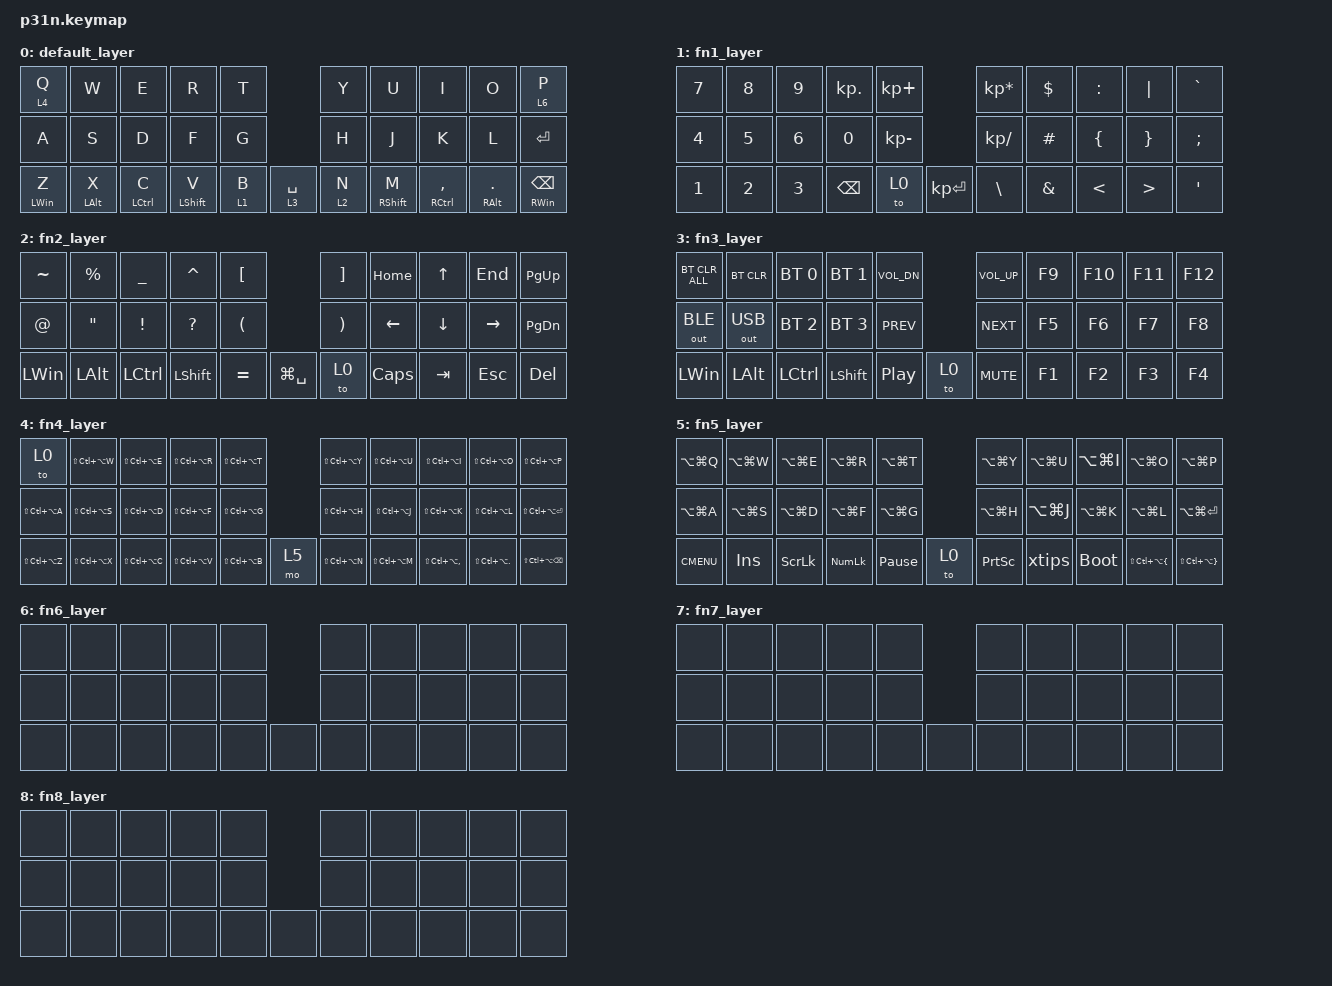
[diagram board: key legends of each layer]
/*
 * Copyright (c) 2020 The ZMK Contributors
 *
 * SPDX-License-Identifier: MIT
 */

#include <behaviors.dtsi>
#include <dt-bindings/zmk/keys.h>
#include <dt-bindings/zmk/rgb.h>
#include <dt-bindings/zmk/bt.h>
#include <dt-bindings/zmk/outputs.h>
#include <dt-bindings/zmk/ext_power.h>
#include <dt-bindings/zmk/mouse.h>

/ {
    macros {
        xtips: xtips {
            compatible = "zmk,behavior-macro";
            label = "XTIPS";
            #binding-cells = <0>;
            bindings = <&kp LS(X) &kp KP_DOT &kp LS(T) &kp I &kp P &kp S>;
            wait-ms = <1>;
            tap-ms = <1>;
        };
    };

    keymap0: keymap {
        compatible = "zmk,keymap";

        default_layer {
            bindings = <
            &lt 4 Q                &kp W                  &kp E                  &kp R                  &kp T                     &kp Y                  &kp U                  &kp I                  &kp O                  &lt 6 P
            &kp A                  &kp S                  &kp D                  &kp F                  &kp G                     &kp H                  &kp J                  &kp K                  &kp L                  &kp ENTER
            &mt LWIN Z             &mt LALT X             &mt LCTRL C            &mt LSHFT V            &lt 1 B                   &lt 3 SPACE               &lt 2 N                &mt RSHFT M            &mt RCTRL COMMA        &mt RALT DOT           &mt RWIN BSPC
            >;
        };

        fn1_layer {
            bindings = <
            &kp N7                 &kp N8                 &kp N9                 &kp KP_DOT             &kp KP_PLUS               &kp KP_MULTIPLY        &kp DLLR               &kp COLON              &kp PIPE               &kp GRAVE
            &kp N4                 &kp N5                 &kp N6                 &kp N0                 &kp KP_MINUS              &kp KP_SLASH           &kp HASH               &kp LBRC               &kp RBRC               &kp SEMI
            &kp N1                 &kp N2                 &kp N3                 &kp BSPC               &to 0                     &kp KP_ENTER           &kp BSLH               &kp AMPS               &kp LT                 &kp GT                 &kp SQT
            >;
        };

        fn2_layer {
            bindings = <
            &kp TILDE              &kp PRCNT              &kp UNDER              &kp CARET              &kp LBKT                  &kp RBKT               &kp HOME               &kp UP                 &kp END                &kp PG_UP
            &kp AT                 &kp DQT                &kp EXCL               &kp QMARK              &kp LPAR                  &kp RPAR               &kp LEFT               &kp DOWN               &kp RIGHT              &kp PG_DN
            &kp LWIN               &kp LALT               &kp LCTRL              &kp LSHFT              &kp EQUAL                 &kp LG(SPACE)          &to 0                  &kp CAPS               &kp TAB                &kp ESC                &kp DEL
            >;
        };

        fn3_layer {
            bindings = <
            &bt BT_CLR_ALL         &bt BT_CLR             &bt BT_SEL 0           &bt BT_SEL 1           &kp C_VOL_DN              &kp C_VOL_UP           &kp F9                 &kp F10                &kp F11                &kp F12
            &out OUT_BLE           &out OUT_USB           &bt BT_SEL 2           &bt BT_SEL 3           &kp C_PREV                &kp C_NEXT             &kp F5                 &kp F6                 &kp F7                 &kp F8
            &kp LWIN               &kp LALT               &kp LCTRL              &kp LSHFT              &kp C_PP                  &to 0                  &kp C_MUTE             &kp F1                 &kp F2                 &kp F3                 &kp F4
            >;
        };

        fn4_layer {
            bindings = <
            &to 0                  &kp LS(LC(LA(W)))      &kp LS(LC(LA(E)))      &kp LS(LC(LA(R)))      &kp LS(LC(LA(T)))         &kp LS(LC(LA(Y)))      &kp LS(LC(LA(U)))      &kp LS(LC(LA(I)))      &kp LS(LC(LA(O)))      &kp LS(LC(LA(P)))
            &kp LS(LC(LA(A)))      &kp LS(LC(LA(S)))      &kp LS(LC(LA(D)))      &kp LS(LC(LA(F)))      &kp LS(LC(LA(G)))         &kp LS(LC(LA(H)))      &kp LS(LC(LA(J)))      &kp LS(LC(LA(K)))      &kp LS(LC(LA(L)))      &kp LS(LC(LA(ENTER)))
            &kp LS(LC(LA(Z)))      &kp LS(LC(LA(X)))      &kp LS(LC(LA(C)))      &kp LS(LC(LA(V)))      &kp LS(LC(LA(B)))         &mo 5                  &kp LS(LC(LA(N)))      &kp LS(LC(LA(M)))      &kp LS(LC(LA(COMMA)))  &kp LS(LC(LA(DOT)))    &kp LS(LC(LA(BSPC)))
            >;
        };

        fn5_layer {
            bindings = <
            &kp LA(LG(Q))          &kp LA(LG(W))          &kp LA(LG(E))          &kp LA(LG(R))          &kp LA(LG(T))             &kp LA(LG(Y))          &kp LA(LG(U))          &kp LA(LG(I))          &kp LA(LG(O))          &kp LA(LG(P))
            &kp LA(LG(A))          &kp LA(LG(S))          &kp LA(LG(D))          &kp LA(LG(F))          &kp LA(LG(G))             &kp LA(LG(H))          &kp LA(LG(J))          &kp LA(LG(K))          &kp LA(LG(L))          &kp LA(LG(ENTER))
            &kp K_CMENU            &kp INS                &kp SLCK               &kp KP_NLCK            &kp PAUSE_BREAK           &to 0                  &kp PSCRN              &xtips                 &bootloader            &kp LS(LC(LA(LBRC)))   &kp LS(LC(LA(RBRC)))
            >;
        };

        fn6_layer {
            bindings = <
            &none                  &none                  &none                  &none                  &none                     &none                  &none                  &none                  &none                  &none
            &none                  &none                  &none                  &none                  &none                     &none                  &none                  &none                  &none                  &none
            &none                  &none                  &none                  &none                  &none                     &none                  &none                  &none                  &none                  &none                  &none
            >;
        };

        fn7_layer {
            bindings = <
            &none                  &none                  &none                  &none                  &none                     &none                  &none                  &none                  &none                  &none
            &none                  &none                  &none                  &none                  &none                     &none                  &none                  &none                  &none                  &none
            &none                  &none                  &none                  &none                  &none                     &none                  &none                  &none                  &none                  &none                  &none
            >;
        };

        fn8_layer {
            bindings = <
            &none                  &none                  &none                  &none                  &none                     &none                  &none                  &none                  &none                  &none
            &none                  &none                  &none                  &none                  &none                     &none                  &none                  &none                  &none                  &none
            &none                  &none                  &none                  &none                  &none                     &none                  &none                  &none                  &none                  &none                  &none
            >;
        };
    };
};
